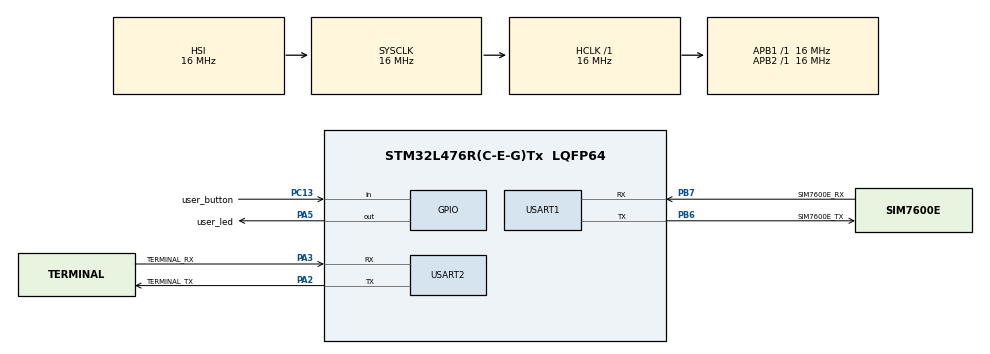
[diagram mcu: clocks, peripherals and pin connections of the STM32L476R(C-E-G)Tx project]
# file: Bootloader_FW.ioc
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Mcu.Family=STM32L4
RCC.MSI_VALUE=4000000
RCC.PLLSourceVirtual=RCC_PLLSOURCE_HSI
PA14\ (JTCK-SWCLK).Mode=Serial_Wire
RCC.CortexFreq_Value=16000000
PC13.Signal=GPIO_Input
PB6.GPIO_Label=SIM7600E_TX
PC13.GPIO_Label=user_button
PA5.PinState=GPIO_PIN_RESET
NVIC.USART2_IRQn=true\:0\:0\:false\:false\:true\:true\:true
RCC.SYSCLKSource=RCC_SYSCLKSOURCE_HSI
ProjectManager.StackSize=0x400
PA14\ (JTCK-SWCLK).Signal=SYS_JTCK-SWCLK
USART1.VirtualMode-Asynchronous=VM_ASYNC
PA3.Mode=Asynchronous
ProjectManager.TargetToolchain=STM32CubeIDE
RCC.HCLKFreq_Value=16000000
RCC.APB2TimFreq_Value=16000000
PB6.Signal=USART1_TX
PB6.Mode=Asynchronous
RCC.USBFreq_Value=64000000
RCC.AHBFreq_Value=16000000
RCC.PREFETCH_ENABLE=1
PA5.Signal=GPIO_Output
RCC.HSE_VALUE=8000000
board=NUCLEO-L476RG
USART2.VirtualMode-Asynchronous=VM_ASYNC
RCC.VCOOutputFreq_Value=160000000
RCC.APB2Freq_Value=16000000
PA5.GPIO_ModeDefaultOutputPP=GPIO_MODE_OUTPUT_PP
RCC.ADCFreq_Value=64000000
PC13.GPIO_PuPd=GPIO_PULLUP
PB7.Signal=USART1_RX
Mcu.Name=STM32L476R(C-E-G)Tx
PA2.Signal=USART2_TX
PB7.GPIO_Label=SIM7600E_RX
PA13\ (JTMS-SWDIO).Mode=Serial_Wire
RCC.SYSCLKFreq_VALUE=16000000
Mcu.Package=LQFP64
PA5.GPIO_Label=user_led
PA2.GPIO_Label=TERMINAL_TX
PB7.Mode=Asynchronous
ProjectManager.HeapSize=0x200
RCC.HSI_VALUE=16000000
PA5.GPIO_Speed=GPIO_SPEED_FREQ_VERY_HIGH
NVIC.PriorityGroup=NVIC_PRIORITYGROUP_4
RCC.PLLN=10
RCC.APB1TimFreq_Value=16000000
PA2.Mode=Asynchronous
PA13\ (JTMS-SWDIO).Signal=SYS_JTMS-SWDIO
NVIC.USART1_IRQn=true\:0\:0\:false\:false\:true\:true\:true
RCC.APB1Freq_Value=16000000
PA3.GPIO_Label=TERMINAL_RX
PA3.Signal=USART2_RX

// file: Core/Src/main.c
/* USER CODE BEGIN Header */
/**
  ******************************************************************************
  * @file           : main.c
  * @brief          : Main program body
  ******************************************************************************
  * @attention
  *
  * <h2><center>&copy; Copyright (c) 2021 STMicroelectronics.
  * All rights reserved.</center></h2>
  *
  * This software component is licensed by ST under BSD 3-Clause license,
  * the "License"; You may not use this file except in compliance with the
  * License. You may obtain a copy of the License at:
  *                        opensource.org/licenses/BSD-3-Clause
  *
  ******************************************************************************
  */
/* USER CODE END Header */
#include "main.h"

/* USER CODE BEGIN Includes */
#include "hw.h"

/* USER CODE END Includes */

/* USER CODE BEGIN PM */
#define true 1
#define false 0
/* USER CODE END PM */

/* USER CODE BEGIN PV */

uint32_t diaChiFOTAFW = 0x08019000 ;
uint32_t diaChiRunningFW = 0x0803E800  ;
int chooseFW = 0 ;

/* USER CODE END PV */

void SystemClock_Config(void);
/* USER CODE BEGIN PFP */
void HAL_UART_RxCpltCallback(UART_HandleTypeDef *huart) ;

void checkAndjumptoNewFW( _Bool _ifHaveNewFW ) ;

char *getCurrentVersion() ;

char *getOnSimVersion() ;

_Bool checkFWnameFormat( char _character ) ;

/* USER CODE END PFP */

int main(void)
{

  /* MCU Configuration--------------------------------------------------------*/

  /* Reset of all peripherals, Initializes the Flash interface and the Systick. */
  HAL_Init();

  /* Configure the system clock */
  SystemClock_Config();

  /* Initialize all configured peripherals */
  MX_GPIO_Init();
  MX_USART1_UART_Init();
  MX_USART2_UART_Init();
  /* USER CODE BEGIN 2 */

  // Khởi động ngoại vi giao tiếp:
  sim7600_init() ;
  terminal_init() ;

  terminal_println( "----------------------------------------------------------------------------------------------------------------", 200 ) ;
  terminal_println( "                                             BOOTLOADER FIRMWARE", 200 ) ;
  terminal_println( "----------------------------------------------------------------------------------------------------------------", 200 ) ;
  terminal_println( "Booting ... ", 200 ) ;
  // 2. Tiếp theo, kiểm tra version hiện tại và version đang có trên module sim ( đã được tải về từ server )
  // 2.1. Lấy dữ liệu version hiện tại từ bộ nhớ FLASH

//  Flash_erase(500) ;
//  HAL_Delay(1000) ;
//  uint8_t x[24] = "datalogger_1.0.0.bin" ;
//  Flash_write( 0x080FA000, x, strlen((char*)x) ) ;
//  while(1){}

  if( sim7600_sendCmd( "AT\r", "OK", 1000 ) != true ) {
	sim7600_sendCmd( "AT+CRESET\r", "", 1000 ) ;
	HAL_Delay(30000) ;
  }

  terminal_println( "Checking on current version ... ", 200 ) ;
  char currentVersion[24] = {0} ;
  strcat( currentVersion, getCurrentVersion() ) ;

  terminal_println( "Current version: ", 2000 ) ;
  terminal_print( currentVersion, 2000 ) ;
  terminal_print( " Done.", 2000 ) ;

  // 2.2. Lấy dữ liệu version trên module sim đồng thời kiểm tra
  terminal_println( "Checking version on SIM memory ... ", 200 ) ;
  _Bool ifHaveNewVersion = false ;
  // Lấy version trên module sim
  char onSimVersion[24] = {0} ;
  memcpy( onSimVersion, getOnSimVersion(), 24 ) ;
  // Đầu tiên check xem có file nào có chữ "datalogger" không đã
  if( strstr( onSimVersion, "datalogger" ) != NULL ) {
	  // Nếu có file datalogger và detect = 0, Nghĩa là đã có version mới

	  if( strstr( onSimVersion, currentVersion ) == NULL )
		  ifHaveNewVersion = true ;

	  if( ifHaveNewVersion == true ) {
		  terminal_println( "***There is new version: ", 200 ) ;
	  	  terminal_print( onSimVersion, 200 ) ;
	  	  terminal_println( "Going to FOTA", 200 ) ;
		  ifHaveNewVersion = true ;
	  // Nếu không có version mới
	  }else {
		  terminal_println( "Datalogger firmware version is up to date.\n", 200 ) ;
		  terminal_println( "Going to running firmware ...", 200 ) ;
		  ifHaveNewVersion = false ;
	  }
  // Đã bị lỗi mất file firmware
  }else {
	  terminal_println( "ERROR!!! Firmware file not found!", 200 ) ;
	  terminal_println( "Going to Datalogger application firmware ...", 200 ) ;
	  ifHaveNewVersion = false ;
  }

  // Kiểm tra và đưa ra quyết định chương trình tiếp theo sẽ nhảy vào là chương trình nào tại hàm này
  terminal_println( "Click Blue button to continue!", 200 ) ;
  while( HAL_GPIO_ReadPin(user_button_GPIO_Port, user_button_Pin) == 1 ) {
	  HAL_GPIO_TogglePin(user_led_GPIO_Port, user_led_Pin ) ;
	  HAL_Delay(500) ;
  }
  checkAndjumptoNewFW( ifHaveNewVersion ) ;

  /* USER CODE END 2 */

  /* Infinite loop */
  while (1)
  {

  }
}

void SystemClock_Config(void)
{
  RCC_OscInitTypeDef RCC_OscInitStruct = {0};
  RCC_ClkInitTypeDef RCC_ClkInitStruct = {0};
  RCC_PeriphCLKInitTypeDef PeriphClkInit = {0};

  /** Initializes the RCC Oscillators according to the specified parameters
  * in the RCC_OscInitTypeDef structure.
  */
  RCC_OscInitStruct.OscillatorType = RCC_OSCILLATORTYPE_HSI;
  RCC_OscInitStruct.HSIState = RCC_HSI_ON;
  RCC_OscInitStruct.HSICalibrationValue = RCC_HSICALIBRATION_DEFAULT;
  RCC_OscInitStruct.PLL.PLLState = RCC_PLL_NONE;
  if (HAL_RCC_OscConfig(&RCC_OscInitStruct) != HAL_OK)
  {
    Error_Handler();
  }
  /** Initializes the CPU, AHB and APB buses clocks
  */
  RCC_ClkInitStruct.ClockType = RCC_CLOCKTYPE_HCLK|RCC_CLOCKTYPE_SYSCLK
                              |RCC_CLOCKTYPE_PCLK1|RCC_CLOCKTYPE_PCLK2;
  RCC_ClkInitStruct.SYSCLKSource = RCC_SYSCLKSOURCE_HSI;
  RCC_ClkInitStruct.AHBCLKDivider = RCC_SYSCLK_DIV1;
  RCC_ClkInitStruct.APB1CLKDivider = RCC_HCLK_DIV1;
  RCC_ClkInitStruct.APB2CLKDivider = RCC_HCLK_DIV1;

  if (HAL_RCC_ClockConfig(&RCC_ClkInitStruct, FLASH_LATENCY_0) != HAL_OK)
  {
    Error_Handler();
  }
  PeriphClkInit.PeriphClockSelection = RCC_PERIPHCLK_USART1|RCC_PERIPHCLK_USART2;
  PeriphClkInit.Usart1ClockSelection = RCC_USART1CLKSOURCE_PCLK2;
  PeriphClkInit.Usart2ClockSelection = RCC_USART2CLKSOURCE_PCLK1;
  if (HAL_RCCEx_PeriphCLKConfig(&PeriphClkInit) != HAL_OK)
  {
    Error_Handler();
  }
  /** Configure the main internal regulator output voltage
  */
  if (HAL_PWREx_ControlVoltageScaling(PWR_REGULATOR_VOLTAGE_SCALE1) != HAL_OK)
  {
    Error_Handler();
  }
}

/* USER CODE BEGIN 4 */

/*__________________________________________________________________________________________________________________________________________*/
void HAL_UART_RxCpltCallback(UART_HandleTypeDef *huart) {
	if( huart->Instance == USART1 )
		sim7600_irqProcess() ;
	else if( huart->Instance == USART2 )
		terminal_irqProcess() ;

}

/*__________________________________________________________________________________________________________________________________________*/
void checkAndjumptoNewFW( _Bool _ifHaveNewFW ) {
	terminal_println( "Jumping... ", 200 ) ;
	if ( _ifHaveNewFW == 1 ) {
	  HAL_RCC_DeInit() ;
	  HAL_DeInit() ;
	  SCB->SHCSR &= ~( SCB_SHCSR_USGFAULTENA_Msk || SCB_SHCSR_BUSFAULTENA_Msk || SCB_SHCSR_MEMFAULTENA_Msk ) ;
	  __set_MSP( *((volatile uint32_t*) diaChiFOTAFW ) ) ;

	  uint32_t JumpAddress = *((volatile uint32_t*) ( diaChiFOTAFW + 4 ));
	  void (*reset_handler)(void) = (void*)JumpAddress;
	  reset_handler();

	} else if ( _ifHaveNewFW == 0 ) {
	  HAL_RCC_DeInit() ;
	  HAL_DeInit() ;
	  SCB->SHCSR &= ~( SCB_SHCSR_USGFAULTENA_Msk || SCB_SHCSR_BUSFAULTENA_Msk || SCB_SHCSR_MEMFAULTENA_Msk ) ;
	  __set_MSP( *((volatile uint32_t*) diaChiRunningFW ) ) ;

	  uint32_t JumpAddress2 = *((volatile uint32_t*) ( diaChiRunningFW + 4 ));
	  void (*reset_handler)(void) = (void*)JumpAddress2;
	  reset_handler();

	}
}

/*__________________________________________________________________________________________________________________________________________*/
char *getCurrentVersion() {
	// version: 1.0.0FF
	static char version[24] ;
	memset( version, 0 , 24 ) ;

	char firstDW[8] = {0} ;
	char secondDW[8] = {0} ;
	char thirdDW[8] = {0} ;
	memcpy( firstDW, Flash_read_doubleWord(0x080FA000), 8 ) ;
	memcpy( secondDW, Flash_read_doubleWord(0x080FA008), 8 ) ;
	memcpy( thirdDW, Flash_read_doubleWord(0x080FA010), 8 ) ;

	// Add and filter version name
	for( int i = 0 ; i < 8 ; i++ )
		version[i] = firstDW[i] ;
	for( int i = 0 ; i < 8 ; i++ ) {
		if( checkFWnameFormat( (char)secondDW[i] ) == 1 )
			version[ i + 8 ] = secondDW[i] ;
		else
			version[ i + 8 ] = 0x00 ;
	}
	for( int i = 0 ; i < 8 ; i++ ) {
		if( checkFWnameFormat( thirdDW[i] ) == 1 )
			version[ i + 16 ] = thirdDW[i] ;
		else
			version[ i + 16 ] = 0x00 ;
	}

	return version ;
}

/*__________________________________________________________________________________________________________________________________________*/
char *getOnSimVersion() {
	// version: 1.0.0FF
	static char version[25] ;
	memset( version, 0 , 25 ) ;

	sim7600_sendCmd( "AT+FSCD=E:\r", "OK", 2000 ) ;
	sim7600_sendCmd( "AT+FSLS\r", "OK", 2000 ) ;

	HAL_Delay(100) ;
	memcpy( version, strstr( sim7600_read(), "datalogger" ), 24 ) ;

	// filter version name
	for( int i = 0 ; i < 24 ; i++ )
		if( checkFWnameFormat( version[i] ) == false )
			version[i] = 0x00 ;

	return version ;
}

/*__________________________________________________________________________________________________________________________________________*/
// datalogger_1.1.1.bin => d,a,t,l,o,g,e,r,b,i,n,_,.,'number'
_Bool checkFWnameFormat( char _character ) {
	switch ( _character ) {
		case 'd':
			return 1 ;
		case 'a':
			return 1 ;
		case 't':
			return 1 ;
		case 'l':
			return 1 ;
		case 'o':
			return 1 ;
		case 'g':
			return 1 ;
		case (char)'e':
			return 1 ;
		case 'r':
			return 1 ;
		case 'b':
			return 1 ;
		case 'i':
			return 1 ;
		case 'n':
			return 1 ;
		case '_':
			return 1 ;
		case '.':
			return 1 ;

		default:
			if( ( _character >= 0x30 && _character <= 0x39 ) )
				return 1 ;
			else
				return 0 ;
			break;
	}
}

/* USER CODE END 4 */

void Error_Handler(void)
{
  __disable_irq();
  while (1)
  {
  }
}

/************************ (C) COPYRIGHT STMicroelectronics *****END OF FILE****/
